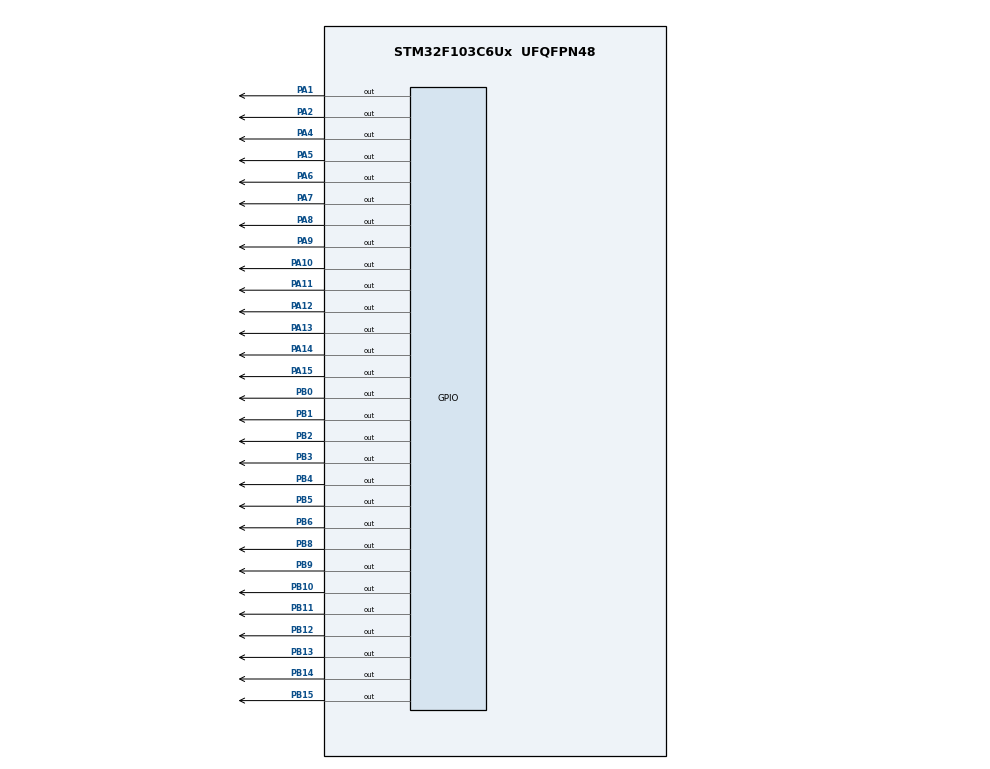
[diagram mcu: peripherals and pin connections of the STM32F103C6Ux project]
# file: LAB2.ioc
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Mcu.Family=STM32F1
Mcu.Name=STM32F103C6Ux
Mcu.Package=UFQFPN48
NVIC.PriorityGroup=NVIC_PRIORITYGROUP_4
NVIC.TIM2_IRQn=true\:0\:0\:false\:false\:true\:true\:true
PA1.Signal=GPIO_Output
PA10.Signal=GPIO_Output
PA11.Signal=GPIO_Output
PA12.Signal=GPIO_Output
PA13.Signal=GPIO_Output
PA14.Signal=GPIO_Output
PA15.Signal=GPIO_Output
PA2.Signal=GPIO_Output
PA4.Signal=GPIO_Output
PA5.Signal=GPIO_Output
PA6.Signal=GPIO_Output
PA7.Signal=GPIO_Output
PA8.Signal=GPIO_Output
PA9.Signal=GPIO_Output
PB0.Signal=GPIO_Output
PB1.Signal=GPIO_Output
PB10.Signal=GPIO_Output
PB11.Signal=GPIO_Output
PB12.Signal=GPIO_Output
PB13.Signal=GPIO_Output
PB14.Signal=GPIO_Output
PB15.Signal=GPIO_Output
PB2.Signal=GPIO_Output
PB3.Signal=GPIO_Output
PB4.Signal=GPIO_Output
PB5.Signal=GPIO_Output
PB6.Signal=GPIO_Output
PB8.Signal=GPIO_Output
PB9.Signal=GPIO_Output
ProjectManager.HeapSize=0x200
ProjectManager.StackSize=0x400
ProjectManager.TargetToolchain=STM32CubeIDE
RCC.APB1Freq_Value=8000000
RCC.APB2Freq_Value=8000000
TIM2.Period=9
TIM2.Prescaler=7999
VP_SYS_VS_ND.Mode=No_Debug
VP_TIM2_VS_ClockSourceINT.Mode=Internal
board=custom

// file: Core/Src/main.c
/* USER CODE BEGIN Header */
/**
  ******************************************************************************
  * @file           : main.c
  * @brief          : Main program body
  ******************************************************************************
  * @attention
  *
  * <h2><center>&copy; Copyright (c) 2021 STMicroelectronics.
  * All rights reserved.</center></h2>
  *
  * This software component is licensed by ST under BSD 3-Clause license,
  * the "License"; You may not use this file except in compliance with the
  * License. You may obtain a copy of the License at:
  *                        opensource.org/licenses/BSD-3-Clause
  *
  ******************************************************************************
  */
/* USER CODE END Header */
#include "main.h"

/* USER CODE BEGIN Includes */
#include "led_7_seg_disp.h"
#include "timer0.h"
#include "matrix_led.h"
/* USER CODE END Includes */

TIM_HandleTypeDef htim2;

void SystemClock_Config(void);
static void MX_GPIO_Init(void);
static void MX_TIM2_Init(void);

int main(void)
{

  /* MCU Configuration--------------------------------------------------------*/

  /* Reset of all peripherals, Initializes the Flash interface and the Systick. */
  HAL_Init();

  /* Configure the system clock */
  SystemClock_Config();

  /* Initialize all configured peripherals */
  MX_GPIO_Init();
  MX_TIM2_Init();
  /* USER CODE BEGIN 2 */
  HAL_TIM_Base_Start_IT(&htim2);
  int hour = 15, minute = 59, second = 50;

  setTimer0(1000);
  setLED();
  /* USER CODE END 2 */

  /* Infinite loop */
  while (1)
  {

    /* USER CODE BEGIN 3 */
	  if(timer0_flag==1){
	 		  second++;
	 		  if (second >= 60){
	 			  second = 0;
	 			  minute++;
	 		  }
	 		  if (minute >= 60){
	 			  minute = 0;
	 			  hour++;
	 		  }
	 		  if (hour >=24){
	 			  hour =0;
	 		  }
	 		  update_clock_buffer(minute, second);
	 	  	  setTimer0(1000);
	 	  }
	 	  update_seven_segment_driver(led7seg_flag);
	 	 updateMatrix(matrixLED_flag, matrixLED_shift_flag);
  }
  /* USER CODE END 3 */
}

void SystemClock_Config(void)
{
  RCC_OscInitTypeDef RCC_OscInitStruct = {0};
  RCC_ClkInitTypeDef RCC_ClkInitStruct = {0};

  /** Initializes the RCC Oscillators according to the specified parameters
  * in the RCC_OscInitTypeDef structure.
  */
  RCC_OscInitStruct.OscillatorType = RCC_OSCILLATORTYPE_HSI;
  RCC_OscInitStruct.HSIState = RCC_HSI_ON;
  RCC_OscInitStruct.HSICalibrationValue = RCC_HSICALIBRATION_DEFAULT;
  RCC_OscInitStruct.PLL.PLLState = RCC_PLL_NONE;
  if (HAL_RCC_OscConfig(&RCC_OscInitStruct) != HAL_OK)
  {
    Error_Handler();
  }
  /** Initializes the CPU, AHB and APB buses clocks
  */
  RCC_ClkInitStruct.ClockType = RCC_CLOCKTYPE_HCLK|RCC_CLOCKTYPE_SYSCLK
                              |RCC_CLOCKTYPE_PCLK1|RCC_CLOCKTYPE_PCLK2;
  RCC_ClkInitStruct.SYSCLKSource = RCC_SYSCLKSOURCE_HSI;
  RCC_ClkInitStruct.AHBCLKDivider = RCC_SYSCLK_DIV1;
  RCC_ClkInitStruct.APB1CLKDivider = RCC_HCLK_DIV1;
  RCC_ClkInitStruct.APB2CLKDivider = RCC_HCLK_DIV1;

  if (HAL_RCC_ClockConfig(&RCC_ClkInitStruct, FLASH_LATENCY_0) != HAL_OK)
  {
    Error_Handler();
  }
}

static void MX_TIM2_Init(void)
{

  TIM_ClockConfigTypeDef sClockSourceConfig = {0};
  TIM_MasterConfigTypeDef sMasterConfig = {0};

  htim2.Instance = TIM2;
  htim2.Init.Prescaler = 7999;
  htim2.Init.CounterMode = TIM_COUNTERMODE_UP;
  htim2.Init.Period = 9;
  htim2.Init.ClockDivision = TIM_CLOCKDIVISION_DIV1;
  htim2.Init.AutoReloadPreload = TIM_AUTORELOAD_PRELOAD_DISABLE;
  if (HAL_TIM_Base_Init(&htim2) != HAL_OK)
  {
    Error_Handler();
  }
  sClockSourceConfig.ClockSource = TIM_CLOCKSOURCE_INTERNAL;
  if (HAL_TIM_ConfigClockSource(&htim2, &sClockSourceConfig) != HAL_OK)
  {
    Error_Handler();
  }
  sMasterConfig.MasterOutputTrigger = TIM_TRGO_RESET;
  sMasterConfig.MasterSlaveMode = TIM_MASTERSLAVEMODE_DISABLE;
  if (HAL_TIMEx_MasterConfigSynchronization(&htim2, &sMasterConfig) != HAL_OK)
  {
    Error_Handler();
  }

}

static void MX_GPIO_Init(void)
{
  GPIO_InitTypeDef GPIO_InitStruct = {0};

  /* GPIO Ports Clock Enable */
  __HAL_RCC_GPIOA_CLK_ENABLE();
  __HAL_RCC_GPIOB_CLK_ENABLE();

  /*Configure GPIO pin Output Level */
  HAL_GPIO_WritePin(GPIOA, GPIO_PIN_1|GPIO_PIN_2|GPIO_PIN_4|GPIO_PIN_5
                          |GPIO_PIN_6|GPIO_PIN_7|GPIO_PIN_8|GPIO_PIN_9
                          |GPIO_PIN_10|GPIO_PIN_11|GPIO_PIN_12|GPIO_PIN_13
                          |GPIO_PIN_14|GPIO_PIN_15, GPIO_PIN_RESET);

  /*Configure GPIO pin Output Level */
  HAL_GPIO_WritePin(GPIOB, GPIO_PIN_0|GPIO_PIN_1|GPIO_PIN_2|GPIO_PIN_10
                          |GPIO_PIN_11|GPIO_PIN_12|GPIO_PIN_13|GPIO_PIN_14
                          |GPIO_PIN_15|GPIO_PIN_3|GPIO_PIN_4|GPIO_PIN_5
                          |GPIO_PIN_6|GPIO_PIN_8|GPIO_PIN_9, GPIO_PIN_RESET);

  /*Configure GPIO pins : PA1 PA2 PA4 PA5
                           PA6 PA7 PA8 PA9
                           PA10 PA11 PA12 PA13
                           PA14 PA15 */
  GPIO_InitStruct.Pin = GPIO_PIN_1|GPIO_PIN_2|GPIO_PIN_4|GPIO_PIN_5
                          |GPIO_PIN_6|GPIO_PIN_7|GPIO_PIN_8|GPIO_PIN_9
                          |GPIO_PIN_10|GPIO_PIN_11|GPIO_PIN_12|GPIO_PIN_13
                          |GPIO_PIN_14|GPIO_PIN_15;
  GPIO_InitStruct.Mode = GPIO_MODE_OUTPUT_PP;
  GPIO_InitStruct.Pull = GPIO_NOPULL;
  GPIO_InitStruct.Speed = GPIO_SPEED_FREQ_LOW;
  HAL_GPIO_Init(GPIOA, &GPIO_InitStruct);

  /*Configure GPIO pins : PB0 PB1 PB2 PB10
                           PB11 PB12 PB13 PB14
                           PB15 PB3 PB4 PB5
                           PB6 PB8 PB9 */
  GPIO_InitStruct.Pin = GPIO_PIN_0|GPIO_PIN_1|GPIO_PIN_2|GPIO_PIN_10
                          |GPIO_PIN_11|GPIO_PIN_12|GPIO_PIN_13|GPIO_PIN_14
                          |GPIO_PIN_15|GPIO_PIN_3|GPIO_PIN_4|GPIO_PIN_5
                          |GPIO_PIN_6|GPIO_PIN_8|GPIO_PIN_9;
  GPIO_InitStruct.Mode = GPIO_MODE_OUTPUT_PP;
  GPIO_InitStruct.Pull = GPIO_NOPULL;
  GPIO_InitStruct.Speed = GPIO_SPEED_FREQ_LOW;
  HAL_GPIO_Init(GPIOB, &GPIO_InitStruct);

}

/* USER CODE BEGIN 4 */
void HAL_TIM_PeriodElapsedCallback(TIM_HandleTypeDef *htim){
	timer_run();

}
/* USER CODE END 4 */

void Error_Handler(void)
{
  __disable_irq();
  while (1)
  {
  }
}

/************************ (C) COPYRIGHT STMicroelectronics *****END OF FILE****/
